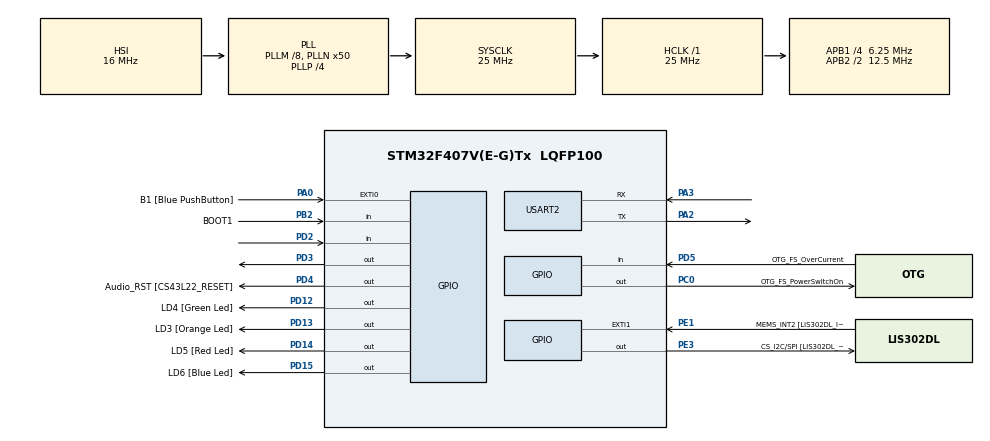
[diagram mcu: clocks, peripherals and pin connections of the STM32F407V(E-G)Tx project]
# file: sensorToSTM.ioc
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Mcu.Family=STM32F4
Mcu.Name=STM32F407V(E-G)Tx
Mcu.Package=LQFP100
NVIC.PriorityGroup=NVIC_PRIORITYGROUP_0
PA0-WKUP.GPIO_Label=B1 [Blue PushButton]
PA0-WKUP.Signal=GPXTI0
PA10.GPIO_Label=OTG_FS_ID
PA10.GPIO_Mode=GPIO_MODE_AF_PP
PA10.GPIO_PuPd=GPIO_NOPULL
PA10.GPIO_Speed=GPIO_SPEED_FREQ_LOW
PA10.Signal=USB_OTG_FS_ID
PA11.GPIO_Label=OTG_FS_DM
PA11.GPIO_Mode=GPIO_MODE_AF_PP
PA11.GPIO_PuPd=GPIO_NOPULL
PA11.GPIO_Speed=GPIO_SPEED_FREQ_LOW
PA11.Signal=USB_OTG_FS_DM
PA12.GPIO_Label=OTG_FS_DP
PA12.GPIO_Mode=GPIO_MODE_AF_PP
PA12.GPIO_PuPd=GPIO_NOPULL
PA12.GPIO_Speed=GPIO_SPEED_FREQ_LOW
PA12.Signal=USB_OTG_FS_DP
PA13.GPIO_Label=SWDIO
PA13.Signal=SYS_JTMS-SWDIO
PA14.GPIO_Label=SWCLK
PA14.Signal=SYS_JTCK-SWCLK
PA2.Mode=Asynchronous
PA2.Signal=USART2_TX
PA3.Mode=Asynchronous
PA3.Signal=USART2_RX
PA4.GPIO_Label=I2S3_WS [CS43L22_LRCK]
PA4.GPIO_Mode=GPIO_MODE_AF_PP
PA4.GPIO_PuPd=GPIO_NOPULL
PA4.GPIO_Speed=GPIO_SPEED_FREQ_LOW
PA4.Signal=I2S3_WS
PA5.GPIO_Label=SPI1_SCK [LIS302DL_SCL/SPC]
PA5.GPIO_Mode=GPIO_MODE_AF_PP
PA5.GPIO_PuPd=GPIO_NOPULL
PA5.GPIO_Speed=GPIO_SPEED_FREQ_LOW
PA5.Signal=SPI1_SCK
PA6.GPIO_Label=SPI1_MISO [LIS302DL_SDO]
PA6.GPIO_Mode=GPIO_MODE_AF_PP
PA6.GPIO_PuPd=GPIO_NOPULL
PA6.GPIO_Speed=GPIO_SPEED_FREQ_LOW
PA6.Signal=SPI1_MISO
PA7.GPIO_Label=SPI1_MOSI [LIS302DL_SDA/SDI/SDO]
PA7.GPIO_Mode=GPIO_MODE_AF_PP
PA7.GPIO_PuPd=GPIO_NOPULL
PA7.GPIO_Speed=GPIO_SPEED_FREQ_LOW
PA7.Signal=SPI1_MOSI
PA9.GPIO_Label=VBUS_FS
PA9.GPIO_Mode=GPIO_MODE_INPUT
PA9.GPIO_PuPd=GPIO_NOPULL
PA9.Signal=USB_OTG_FS_VBUS
PB10.GPIO_Label=CLK_IN [MP45DT02_CLK]
PB10.GPIO_Mode=GPIO_MODE_AF_PP
PB10.GPIO_PuPd=GPIO_NOPULL
PB10.GPIO_Speed=GPIO_SPEED_FREQ_LOW
PB10.Signal=I2S2_CK
PB2.GPIO_Label=BOOT1
PB2.GPIO_Mode=GPIO_MODE_INPUT
PB2.GPIO_PuPd=GPIO_NOPULL
PB2.Signal=GPIO_Input
PB3.GPIO_Label=SWO
PB3.Signal=SYS_JTDO-SWO
PB6.GPIO_Label=Audio_SCL [CS43L22_SCL]
PB6.GPIO_Mode=GPIO_MODE_AF_OD
PB6.GPIO_PuPd=GPIO_NOPULL
PB6.GPIO_Speed=GPIO_SPEED_FREQ_LOW
PB6.Signal=I2C1_SCL
PB9.GPIO_Label=Audio_SDA [CS43L22_SDA]
PB9.GPIO_Mode=GPIO_MODE_AF_OD
PB9.GPIO_PuPd=GPIO_NOPULL
PB9.GPIO_Speed=GPIO_SPEED_FREQ_LOW
PB9.Signal=I2C1_SDA
PC0.GPIO_Label=OTG_FS_PowerSwitchOn
PC0.GPIO_PuPd=GPIO_NOPULL
PC0.GPIO_Speed=GPIO_SPEED_FREQ_LOW
PC0.PinState=GPIO_PIN_SET
PC0.Signal=GPIO_Output
PC10.GPIO_Label=I2S3_SCK [CS43L22_SCLK]
PC10.GPIO_Mode=GPIO_MODE_AF_PP
PC10.GPIO_PuPd=GPIO_NOPULL
PC10.GPIO_Speed=GPIO_SPEED_FREQ_LOW
PC10.Signal=I2S3_CK
PC12.GPIO_Label=I2S3_SD [CS43L22_SDIN]
PC12.GPIO_Mode=GPIO_MODE_AF_PP
PC12.GPIO_PuPd=GPIO_NOPULL
PC12.GPIO_Speed=GPIO_SPEED_FREQ_LOW
PC12.Signal=I2S3_SD
PC14-OSC32_IN.GPIO_Label=PC14-OSC32_IN
PC14-OSC32_IN.Signal=RCC_OSC32_IN
PC15-OSC32_OUT.GPIO_Label=PC15-OSC32_OUT
PC15-OSC32_OUT.Signal=RCC_OSC32_OUT
PC3.GPIO_Label=PDM_OUT [MP45DT02_DOUT]
PC3.GPIO_Mode=GPIO_MODE_AF_PP
PC3.GPIO_PuPd=GPIO_NOPULL
PC3.GPIO_Speed=GPIO_SPEED_FREQ_LOW
PC3.Signal=I2S2_SD
PC7.GPIO_Label=I2S3_MCK [CS43L22_MCLK]
PC7.GPIO_Mode=GPIO_MODE_AF_PP
PC7.GPIO_PuPd=GPIO_NOPULL
PC7.GPIO_Speed=GPIO_SPEED_FREQ_LOW
PC7.Signal=I2S3_MCK
PD12.GPIO_Label=LD4 [Green Led]
PD12.GPIO_PuPd=GPIO_NOPULL
PD12.GPIO_Speed=GPIO_SPEED_FREQ_LOW
PD12.Signal=GPIO_Output
PD13.GPIO_Label=LD3 [Orange Led]
PD13.GPIO_PuPd=GPIO_NOPULL
PD13.GPIO_Speed=GPIO_SPEED_FREQ_LOW
PD13.Signal=GPIO_Output
PD14.GPIO_Label=LD5 [Red Led]
PD14.GPIO_PuPd=GPIO_NOPULL
PD14.GPIO_Speed=GPIO_SPEED_FREQ_LOW
PD14.Signal=GPIO_Output
PD15.GPIO_Label=LD6 [Blue Led]
PD15.GPIO_PuPd=GPIO_NOPULL
PD15.GPIO_Speed=GPIO_SPEED_FREQ_LOW
PD15.Signal=GPIO_Output
PD2.Signal=GPIO_Input
PD3.Signal=GPIO_Output
PD4.GPIO_Label=Audio_RST [CS43L22_RESET]
PD4.GPIO_PuPd=GPIO_NOPULL
PD4.GPIO_Speed=GPIO_SPEED_FREQ_LOW
PD4.Signal=GPIO_Output
PD5.GPIO_Label=OTG_FS_OverCurrent
PD5.GPIO_Mode=GPIO_MODE_INPUT
PD5.GPIO_PuPd=GPIO_NOPULL
PD5.Signal=GPIO_Input
PE1.GPIO_Label=MEMS_INT2 [LIS302DL_INT2]
PE1.GPIO_ModeDefaultEXTI=GPIO_MODE_EVT_RISING
PE1.GPIO_PuPd=GPIO_NOPULL
PE1.Signal=GPXTI1
PE3.GPIO_Label=CS_I2C/SPI [LIS302DL_CS_I2C/SPI]
PE3.GPIO_PuPd=GPIO_NOPULL
PE3.GPIO_Speed=GPIO_SPEED_FREQ_LOW
PE3.Signal=GPIO_Output
PH0-OSC_IN.GPIO_Label=PH0-OSC_IN
PH0-OSC_IN.Signal=RCC_OSC_IN
PH1-OSC_OUT.GPIO_Label=PH1-OSC_OUT
PH1-OSC_OUT.Signal=RCC_OSC_OUT
ProjectManager.HeapSize=0x200
ProjectManager.StackSize=0x400
ProjectManager.TargetToolchain=SW4STM32
RCC.48MHZClocksFreq_Value=14285714.285714285
RCC.AHBFreq_Value=25000000
RCC.APB1CLKDivider=RCC_HCLK_DIV4
RCC.APB1Freq_Value=6250000
RCC.APB1TimFreq_Value=12500000
RCC.APB2CLKDivider=RCC_HCLK_DIV2
RCC.APB2Freq_Value=12500000
RCC.APB2TimFreq_Value=25000000
RCC.CortexFreq_Value=25000000
RCC.HCLKFreq_Value=25000000
RCC.HSE_VALUE=8000000
RCC.HSI_VALUE=16000000
RCC.LSE_VALUE=32768
RCC.PLLM=8
RCC.PLLN=50
RCC.PLLP=RCC_PLLP_DIV4
RCC.PLLQ=7
RCC.SYSCLKFreq_VALUE=25000000
RCC.SYSCLKSource=RCC_SYSCLKSOURCE_PLLCLK
RCC.VCOOutputFreq_Value=100000000
USART2.VirtualMode=VM_ASYNC
board=STM32F4DISCOVERY

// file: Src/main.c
/**
  ******************************************************************************
  * File Name          : main.c
  * Description        : Main program body
  ******************************************************************************
  ** This notice applies to any and all portions of this file
  * that are not between comment pairs USER CODE BEGIN and
  * USER CODE END. Other portions of this file, whether
  * inserted by the user or by software development tools
  * are owned by their respective copyright owners.
  *
  * COPYRIGHT(c) 2017 STMicroelectronics
  *
  * Redistribution and use in source and binary forms, with or without modification,
  * are permitted provided that the following conditions are met:
  *   1. Redistributions of source code must retain the above copyright notice,
  *      this list of conditions and the following disclaimer.
  *   2. Redistributions in binary form must reproduce the above copyright notice,
  *      this list of conditions and the following disclaimer in the documentation
  *      and/or other materials provided with the distribution.
  *   3. Neither the name of STMicroelectronics nor the names of its contributors
  *      may be used to endorse or promote products derived from this software
  *      without specific prior written permission.
  *
  * THIS SOFTWARE IS PROVIDED BY THE COPYRIGHT HOLDERS AND CONTRIBUTORS "AS IS"
  * AND ANY EXPRESS OR IMPLIED WARRANTIES, INCLUDING, BUT NOT LIMITED TO, THE
  * IMPLIED WARRANTIES OF MERCHANTABILITY AND FITNESS FOR A PARTICULAR PURPOSE ARE
  * DISCLAIMED. IN NO EVENT SHALL THE COPYRIGHT HOLDER OR CONTRIBUTORS BE LIABLE
  * FOR ANY DIRECT, INDIRECT, INCIDENTAL, SPECIAL, EXEMPLARY, OR CONSEQUENTIAL
  * DAMAGES (INCLUDING, BUT NOT LIMITED TO, PROCUREMENT OF SUBSTITUTE GOODS OR
  * SERVICES; LOSS OF USE, DATA, OR PROFITS; OR BUSINESS INTERRUPTION) HOWEVER
  * CAUSED AND ON ANY THEORY OF LIABILITY, WHETHER IN CONTRACT, STRICT LIABILITY,
  * OR TORT (INCLUDING NEGLIGENCE OR OTHERWISE) ARISING IN ANY WAY OUT OF THE USE
  * OF THIS SOFTWARE, EVEN IF ADVISED OF THE POSSIBILITY OF SUCH DAMAGE.
  *
  ******************************************************************************
  */
#include "main.h"
#include "stm32f4xx_hal.h"

/* USER CODE BEGIN Includes */
#include "hx711.h"
/* USER CODE END Includes */

UART_HandleTypeDef huart2;

/* USER CODE BEGIN PV */
/* Private variables ---------------------------------------------------------*/

/* USER CODE END PV */

void SystemClock_Config(void);
static void MX_GPIO_Init(void);
static void MX_USART2_UART_Init(void);

/* USER CODE BEGIN PFP */
/* Private function prototypes -----------------------------------------------*/

/* USER CODE END PFP */

/* USER CODE BEGIN 0 */
void breakDown(int index, unsigned char outbox[], int member)
{
  unsigned long d = *(unsigned long *)&member;

  outbox[index] = d & 0x00FF;
  index++;

  outbox[index] = (d & 0xFF00) >> 8;
  index++;

  outbox[index] = (d & 0xFF0000) >> 16;
  index++;

  outbox[index] = (d & 0xFF000000) >> 24;
  index++;
  HAL_UART_Transmit(&huart2,outbox,sizeof(int),1000);
}
/* USER CODE END 0 */

int main(void)
{

  /* MCU Configuration----------------------------------------------------------*/

  /* Reset of all peripherals, Initializes the Flash interface and the Systick. */
  HAL_Init();

  /* USER CODE BEGIN Init */
  volatile int value;
  	volatile unsigned char data[4];
  /* USER CODE END Init */

  /* Configure the system clock */
  SystemClock_Config();

  /* Initialize all configured peripherals */
  MX_GPIO_Init();
  MX_USART2_UART_Init();

  /* USER CODE BEGIN 2 */
  HX711 hx711;
  hx711.gpioSck = GPIOD;
  hx711.gpioData = GPIOD;
  hx711.pinData = GPIO_PIN_2;
  hx711.pinSck = GPIO_PIN_3;
  hx711.gain = 128;
  HX711_Init(hx711);
  hx711 = HX711_Tare(hx711,10);
  /* USER CODE END 2 */

  /* Infinite loop */
  while (1)
  {

  /* USER CODE BEGIN 3 */
	  value = HX711_Average_Value(hx711,10);
	  //value -= 8469000;
	  value -= hx711.offset;
	  value /= 200;

	  breakDown(0,data,value);
	  HAL_Delay(1000);
	  //HAL_UART_Transmit($huart2,)
  }
  /* USER CODE END 3 */

}

/** System Clock Configuration
*/
void SystemClock_Config(void)
{

  RCC_OscInitTypeDef RCC_OscInitStruct;
  RCC_ClkInitTypeDef RCC_ClkInitStruct;

    /**Configure the main internal regulator output voltage
    */
  __HAL_RCC_PWR_CLK_ENABLE();

  __HAL_PWR_VOLTAGESCALING_CONFIG(PWR_REGULATOR_VOLTAGE_SCALE1);

    /**Initializes the CPU, AHB and APB busses clocks
    */
  RCC_OscInitStruct.OscillatorType = RCC_OSCILLATORTYPE_HSI;
  RCC_OscInitStruct.HSIState = RCC_HSI_ON;
  RCC_OscInitStruct.HSICalibrationValue = 16;
  RCC_OscInitStruct.PLL.PLLState = RCC_PLL_ON;
  RCC_OscInitStruct.PLL.PLLSource = RCC_PLLSOURCE_HSI;
  RCC_OscInitStruct.PLL.PLLM = 8;
  RCC_OscInitStruct.PLL.PLLN = 50;
  RCC_OscInitStruct.PLL.PLLP = RCC_PLLP_DIV4;
  RCC_OscInitStruct.PLL.PLLQ = 7;
  if (HAL_RCC_OscConfig(&RCC_OscInitStruct) != HAL_OK)
  {
    _Error_Handler(__FILE__, __LINE__);
  }

    /**Initializes the CPU, AHB and APB busses clocks
    */
  RCC_ClkInitStruct.ClockType = RCC_CLOCKTYPE_HCLK|RCC_CLOCKTYPE_SYSCLK
                              |RCC_CLOCKTYPE_PCLK1|RCC_CLOCKTYPE_PCLK2;
  RCC_ClkInitStruct.SYSCLKSource = RCC_SYSCLKSOURCE_PLLCLK;
  RCC_ClkInitStruct.AHBCLKDivider = RCC_SYSCLK_DIV1;
  RCC_ClkInitStruct.APB1CLKDivider = RCC_HCLK_DIV4;
  RCC_ClkInitStruct.APB2CLKDivider = RCC_HCLK_DIV2;

  if (HAL_RCC_ClockConfig(&RCC_ClkInitStruct, FLASH_LATENCY_0) != HAL_OK)
  {
    _Error_Handler(__FILE__, __LINE__);
  }

    /**Configure the Systick interrupt time
    */
  HAL_SYSTICK_Config(HAL_RCC_GetHCLKFreq()/1000);

    /**Configure the Systick
    */
  HAL_SYSTICK_CLKSourceConfig(SYSTICK_CLKSOURCE_HCLK);

  /* SysTick_IRQn interrupt configuration */
  HAL_NVIC_SetPriority(SysTick_IRQn, 0, 0);
}

/* USART2 init function */
static void MX_USART2_UART_Init(void)
{

  huart2.Instance = USART2;
  huart2.Init.BaudRate = 115200;
  huart2.Init.WordLength = UART_WORDLENGTH_8B;
  huart2.Init.StopBits = UART_STOPBITS_1;
  huart2.Init.Parity = UART_PARITY_NONE;
  huart2.Init.Mode = UART_MODE_TX_RX;
  huart2.Init.HwFlowCtl = UART_HWCONTROL_NONE;
  huart2.Init.OverSampling = UART_OVERSAMPLING_16;
  if (HAL_UART_Init(&huart2) != HAL_OK)
  {
    _Error_Handler(__FILE__, __LINE__);
  }

}

/** Configure pins as
        * Analog
        * Input
        * Output
        * EVENT_OUT
        * EXTI
     PC3   ------> I2S2_SD
     PA4   ------> I2S3_WS
     PA5   ------> SPI1_SCK
     PA6   ------> SPI1_MISO
     PA7   ------> SPI1_MOSI
     PB10   ------> I2S2_CK
     PC7   ------> I2S3_MCK
     PA9   ------> USB_OTG_FS_VBUS
     PA10   ------> USB_OTG_FS_ID
     PA11   ------> USB_OTG_FS_DM
     PA12   ------> USB_OTG_FS_DP
     PC10   ------> I2S3_CK
     PC12   ------> I2S3_SD
     PB6   ------> I2C1_SCL
     PB9   ------> I2C1_SDA
*/
static void MX_GPIO_Init(void)
{

  GPIO_InitTypeDef GPIO_InitStruct;

  /* GPIO Ports Clock Enable */
  __HAL_RCC_GPIOE_CLK_ENABLE();
  __HAL_RCC_GPIOC_CLK_ENABLE();
  __HAL_RCC_GPIOH_CLK_ENABLE();
  __HAL_RCC_GPIOA_CLK_ENABLE();
  __HAL_RCC_GPIOB_CLK_ENABLE();
  __HAL_RCC_GPIOD_CLK_ENABLE();

  /*Configure GPIO pin Output Level */
  HAL_GPIO_WritePin(CS_I2C_SPI_GPIO_Port, CS_I2C_SPI_Pin, GPIO_PIN_RESET);

  /*Configure GPIO pin Output Level */
  HAL_GPIO_WritePin(OTG_FS_PowerSwitchOn_GPIO_Port, OTG_FS_PowerSwitchOn_Pin, GPIO_PIN_SET);

  /*Configure GPIO pin Output Level */
  HAL_GPIO_WritePin(GPIOD, LD4_Pin|LD3_Pin|LD5_Pin|LD6_Pin
                          |GPIO_PIN_3|Audio_RST_Pin, GPIO_PIN_RESET);

  /*Configure GPIO pin : CS_I2C_SPI_Pin */
  GPIO_InitStruct.Pin = CS_I2C_SPI_Pin;
  GPIO_InitStruct.Mode = GPIO_MODE_OUTPUT_PP;
  GPIO_InitStruct.Pull = GPIO_NOPULL;
  GPIO_InitStruct.Speed = GPIO_SPEED_FREQ_LOW;
  HAL_GPIO_Init(CS_I2C_SPI_GPIO_Port, &GPIO_InitStruct);

  /*Configure GPIO pin : OTG_FS_PowerSwitchOn_Pin */
  GPIO_InitStruct.Pin = OTG_FS_PowerSwitchOn_Pin;
  GPIO_InitStruct.Mode = GPIO_MODE_OUTPUT_PP;
  GPIO_InitStruct.Pull = GPIO_NOPULL;
  GPIO_InitStruct.Speed = GPIO_SPEED_FREQ_LOW;
  HAL_GPIO_Init(OTG_FS_PowerSwitchOn_GPIO_Port, &GPIO_InitStruct);

  /*Configure GPIO pin : PDM_OUT_Pin */
  GPIO_InitStruct.Pin = PDM_OUT_Pin;
  GPIO_InitStruct.Mode = GPIO_MODE_AF_PP;
  GPIO_InitStruct.Pull = GPIO_NOPULL;
  GPIO_InitStruct.Speed = GPIO_SPEED_FREQ_LOW;
  GPIO_InitStruct.Alternate = GPIO_AF5_SPI2;
  HAL_GPIO_Init(PDM_OUT_GPIO_Port, &GPIO_InitStruct);

  /*Configure GPIO pin : B1_Pin */
  GPIO_InitStruct.Pin = B1_Pin;
  GPIO_InitStruct.Mode = GPIO_MODE_IT_RISING;
  GPIO_InitStruct.Pull = GPIO_NOPULL;
  HAL_GPIO_Init(B1_GPIO_Port, &GPIO_InitStruct);

  /*Configure GPIO pin : I2S3_WS_Pin */
  GPIO_InitStruct.Pin = I2S3_WS_Pin;
  GPIO_InitStruct.Mode = GPIO_MODE_AF_PP;
  GPIO_InitStruct.Pull = GPIO_NOPULL;
  GPIO_InitStruct.Speed = GPIO_SPEED_FREQ_LOW;
  GPIO_InitStruct.Alternate = GPIO_AF6_SPI3;
  HAL_GPIO_Init(I2S3_WS_GPIO_Port, &GPIO_InitStruct);

  /*Configure GPIO pins : SPI1_SCK_Pin SPI1_MISO_Pin SPI1_MOSI_Pin */
  GPIO_InitStruct.Pin = SPI1_SCK_Pin|SPI1_MISO_Pin|SPI1_MOSI_Pin;
  GPIO_InitStruct.Mode = GPIO_MODE_AF_PP;
  GPIO_InitStruct.Pull = GPIO_NOPULL;
  GPIO_InitStruct.Speed = GPIO_SPEED_FREQ_LOW;
  GPIO_InitStruct.Alternate = GPIO_AF5_SPI1;
  HAL_GPIO_Init(GPIOA, &GPIO_InitStruct);

  /*Configure GPIO pin : BOOT1_Pin */
  GPIO_InitStruct.Pin = BOOT1_Pin;
  GPIO_InitStruct.Mode = GPIO_MODE_INPUT;
  GPIO_InitStruct.Pull = GPIO_NOPULL;
  HAL_GPIO_Init(BOOT1_GPIO_Port, &GPIO_InitStruct);

  /*Configure GPIO pin : CLK_IN_Pin */
  GPIO_InitStruct.Pin = CLK_IN_Pin;
  GPIO_InitStruct.Mode = GPIO_MODE_AF_PP;
  GPIO_InitStruct.Pull = GPIO_NOPULL;
  GPIO_InitStruct.Speed = GPIO_SPEED_FREQ_LOW;
  GPIO_InitStruct.Alternate = GPIO_AF5_SPI2;
  HAL_GPIO_Init(CLK_IN_GPIO_Port, &GPIO_InitStruct);

  /*Configure GPIO pins : LD4_Pin LD3_Pin LD5_Pin LD6_Pin
                           PD3 Audio_RST_Pin */
  GPIO_InitStruct.Pin = LD4_Pin|LD3_Pin|LD5_Pin|LD6_Pin
                          |GPIO_PIN_3|Audio_RST_Pin;
  GPIO_InitStruct.Mode = GPIO_MODE_OUTPUT_PP;
  GPIO_InitStruct.Pull = GPIO_NOPULL;
  GPIO_InitStruct.Speed = GPIO_SPEED_FREQ_LOW;
  HAL_GPIO_Init(GPIOD, &GPIO_InitStruct);

  /*Configure GPIO pins : I2S3_MCK_Pin I2S3_SCK_Pin I2S3_SD_Pin */
  GPIO_InitStruct.Pin = I2S3_MCK_Pin|I2S3_SCK_Pin|I2S3_SD_Pin;
  GPIO_InitStruct.Mode = GPIO_MODE_AF_PP;
  GPIO_InitStruct.Pull = GPIO_NOPULL;
  GPIO_InitStruct.Speed = GPIO_SPEED_FREQ_LOW;
  GPIO_InitStruct.Alternate = GPIO_AF6_SPI3;
  HAL_GPIO_Init(GPIOC, &GPIO_InitStruct);

  /*Configure GPIO pin : VBUS_FS_Pin */
  GPIO_InitStruct.Pin = VBUS_FS_Pin;
  GPIO_InitStruct.Mode = GPIO_MODE_INPUT;
  GPIO_InitStruct.Pull = GPIO_NOPULL;
  HAL_GPIO_Init(VBUS_FS_GPIO_Port, &GPIO_InitStruct);

  /*Configure GPIO pins : OTG_FS_ID_Pin OTG_FS_DM_Pin OTG_FS_DP_Pin */
  GPIO_InitStruct.Pin = OTG_FS_ID_Pin|OTG_FS_DM_Pin|OTG_FS_DP_Pin;
  GPIO_InitStruct.Mode = GPIO_MODE_AF_PP;
  GPIO_InitStruct.Pull = GPIO_NOPULL;
  GPIO_InitStruct.Speed = GPIO_SPEED_FREQ_LOW;
  GPIO_InitStruct.Alternate = GPIO_AF10_OTG_FS;
  HAL_GPIO_Init(GPIOA, &GPIO_InitStruct);

  /*Configure GPIO pins : PD2 OTG_FS_OverCurrent_Pin */
  GPIO_InitStruct.Pin = GPIO_PIN_2|OTG_FS_OverCurrent_Pin;
  GPIO_InitStruct.Mode = GPIO_MODE_INPUT;
  GPIO_InitStruct.Pull = GPIO_NOPULL;
  HAL_GPIO_Init(GPIOD, &GPIO_InitStruct);

  /*Configure GPIO pins : Audio_SCL_Pin Audio_SDA_Pin */
  GPIO_InitStruct.Pin = Audio_SCL_Pin|Audio_SDA_Pin;
  GPIO_InitStruct.Mode = GPIO_MODE_AF_OD;
  GPIO_InitStruct.Pull = GPIO_PULLUP;
  GPIO_InitStruct.Speed = GPIO_SPEED_FREQ_LOW;
  GPIO_InitStruct.Alternate = GPIO_AF4_I2C1;
  HAL_GPIO_Init(GPIOB, &GPIO_InitStruct);

  /*Configure GPIO pin : MEMS_INT2_Pin */
  GPIO_InitStruct.Pin = MEMS_INT2_Pin;
  GPIO_InitStruct.Mode = GPIO_MODE_EVT_RISING;
  GPIO_InitStruct.Pull = GPIO_NOPULL;
  HAL_GPIO_Init(MEMS_INT2_GPIO_Port, &GPIO_InitStruct);

}

void _Error_Handler(char * file, int line)
{
  while(1)
  {
  }
}

/************************ (C) COPYRIGHT STMicroelectronics *****END OF FILE****/
